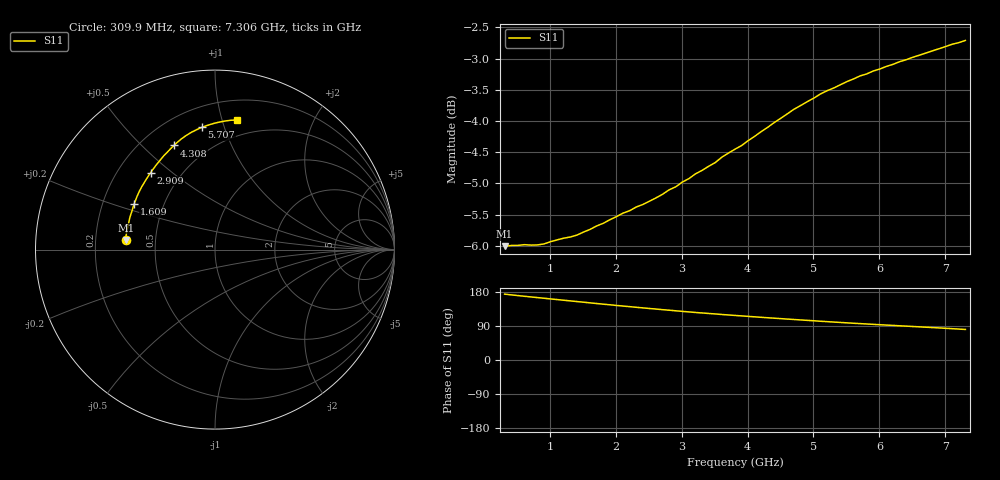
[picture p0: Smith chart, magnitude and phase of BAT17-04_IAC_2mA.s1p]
! Infineon Technologies  Discrete & RF Semiconductors
! BAT17-04
! IAC = 2 mA
! One-Port S-Parameters
# Hz  S  MA  R  50
!f  S11
!Hz  Mag  Ang
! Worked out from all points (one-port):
!   71 points, 309.9 MHz to 7.306 GHz, reference 50 ohm
!   lowest |S11| = -6.0 dB at 309.9 MHz (marker M1), VSWR 3.01, Z = 16.7 + j2.41 ohm
!   |S11| at or under -10 dB: nowhere
!   S11 on the Smith chart (normalised r, x): 309.9 MHz: 0.33, +0.05; 1.609 GHz: 0.34, +0.23; 2.909 GHz: 0.34, +0.42; 4.308 GHz: 0.33, +0.63; 5.707 GHz: 0.33, +0.85; 7.306 GHz: 0.36, +1.11
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3.0985e8  0.5008 173.8
6.097e8  0.5022 168.2
9.0955e8  0.5029 163.0
1.2094e9  0.5082 157.7
1.4093e9  0.5111 154.2
1.6092e9  0.5166 150.7
1.90905e9  0.5259 145.7
2.10895e9  0.5323 142.3
2.30885e9  0.5383 139.1
2.6087e9  0.5474 134.5
2.70865e9  0.5511 132.8
2.90855e9  0.5587 129.9
3.0085e9  0.5636 128.3
3.2084e9  0.5723 125.4
3.50825e9  0.5843 121.5
3.6082e9  0.5901 120.1
3.8081e9  0.5989 117.6
4.30785e9  0.6238 111.5
4.70765e9  0.645 106.8
5.0075e9  0.6583 103.5
5.10745e9  0.6633 102.3
5.6072e9  0.6818 97.0
5.70715e9  0.6857 96.0
6.10695e9  0.6978 92.2
6.50675e9  0.7097 88.4
6.90655e9  0.721 84.7
7.10645e9  0.727 82.7
7.30635e9  0.732 80.6
